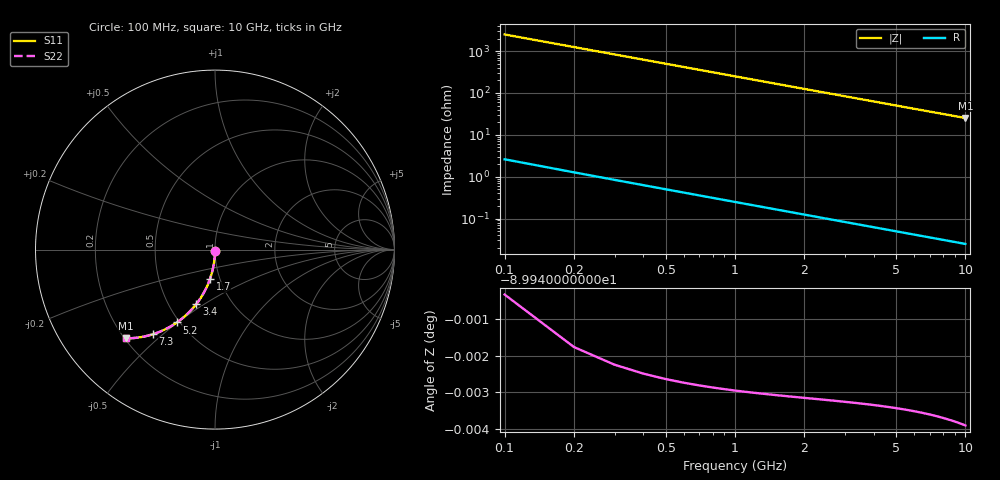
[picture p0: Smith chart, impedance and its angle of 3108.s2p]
# Hz S RI R 50.00
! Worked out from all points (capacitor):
!   100 points, 100 MHz to 10 GHz, reference 50 ohm
!   read as one part in shunt: C = 637 fF near 100 MHz
!   lowest |Z| = 25.3 ohm at 10 GHz (marker M1)
!   S11 on the Smith chart (normalised r, x): 100 MHz: 1.00, -0.02; 1.7 GHz: 0.90, -0.30; 3.4 GHz: 0.69, -0.46; 5.2 GHz: 0.48, -0.50; 7.3 GHz: 0.32, -0.46; 10 GHz: 0.20, -0.40
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1e8  -9.5e-05 -0.00995  0.9999 -0.01  0.9999 -0.01  -9.5e-05 -0.00995
2e8  -0.000405 -0.0199  0.9996 -0.0201  0.9996 -0.0201  -0.000405 -0.0199
3e8  -0.000914 -0.0298  0.9991 -0.0301  0.9991 -0.0301  -0.000914 -0.0298
4e8  -0.00162 -0.0397  0.9983 -0.0401  0.9983 -0.0401  -0.00162 -0.0397
5e8  -0.00253 -0.0496  0.9974 -0.0501  0.9974 -0.0501  -0.00253 -0.0496
6e8  -0.00363 -0.0595  0.9963 -0.0601  0.9963 -0.0601  -0.00363 -0.0595
8e8  -0.00642 -0.0791  0.9935 -0.0799  0.9935 -0.0799  -0.00642 -0.0791
1.1e9  -0.012 -0.1081  0.9879 -0.1092  0.9879 -0.1092  -0.012 -0.1081
1.4e9  -0.0193 -0.1365  0.9806 -0.1379  0.9806 -0.1379  -0.0193 -0.1365
1.7e9  -0.0282 -0.1643  0.9718 -0.1659  0.9718 -0.1659  -0.0282 -0.1643
1.8e9  -0.0315 -0.1733  0.9685 -0.1751  0.9685 -0.1751  -0.0315 -0.1733
2.1e9  -0.0423 -0.1999  0.9576 -0.2019  0.9576 -0.2019  -0.0423 -0.1999
2.5e9  -0.0589 -0.2337  0.9411 -0.2362  0.9411 -0.2362  -0.0589 -0.2337
2.9e9  -0.0776 -0.2656  0.9224 -0.2685  0.9224 -0.2685  -0.0776 -0.2656
3.4e9  -0.1035 -0.3025  0.8964 -0.3059  0.8964 -0.3059  -0.1035 -0.3025
4.2e9  -0.1496 -0.3542  0.8503 -0.3583  0.8503 -0.3583  -0.1496 -0.3542
5.1e9  -0.2057 -0.4012  0.7942 -0.4063  0.7942 -0.4063  -0.2057 -0.4012
5.2e9  -0.2121 -0.4057  0.7878 -0.4109  0.7878 -0.4109  -0.2121 -0.4057
6.7e9  -0.3084 -0.458  0.6916 -0.4647  0.6916 -0.4647  -0.3084 -0.458
7.3e9  -0.3459 -0.4715  0.654 -0.4788  0.654 -0.4788  -0.3459 -0.4715
8.4e9  -0.4115 -0.4874  0.5885 -0.4958  0.5885 -0.4958  -0.4115 -0.4874
1e10  -0.4972 -0.4944  0.5027 -0.5045  0.5027 -0.5045  -0.4972 -0.4944
